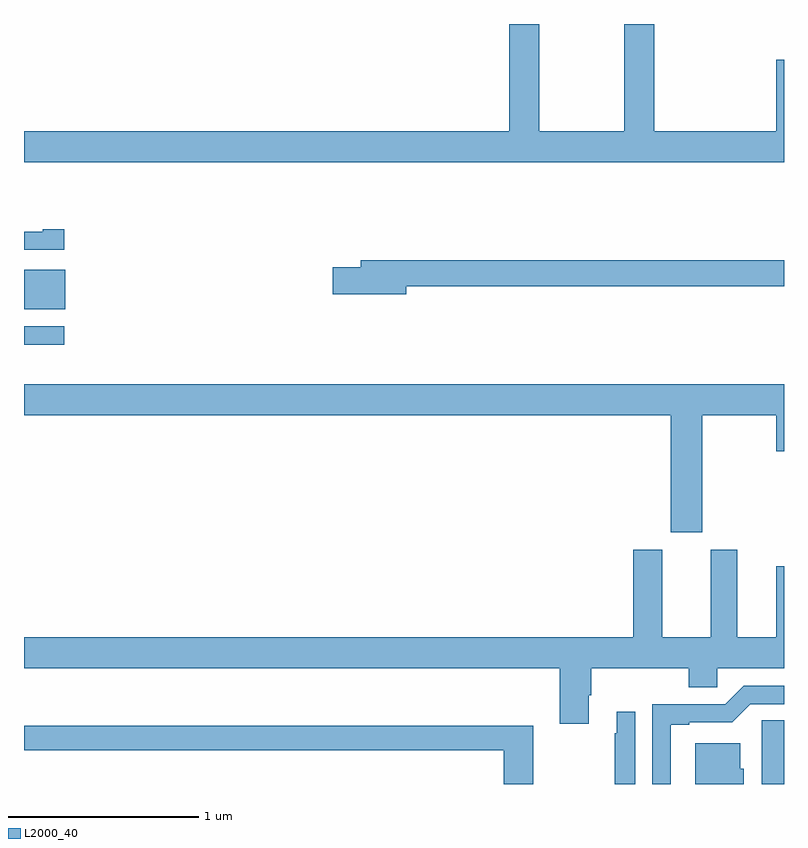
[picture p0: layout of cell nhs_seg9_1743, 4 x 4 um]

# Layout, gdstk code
import gdstk
lib = gdstk.Library(unit=1e-6, precision=1e-09)
def R(c, l, rs):  # rectangles x0, y0, x1, y1
    for r in rs: c.add(gdstk.rectangle(r[:2], r[2:], *l))
def P(c, l, *ps):  # polygons
    for p in ps: c.add(gdstk.Polygon(p, *l))
L2000_40 = (2000, 40)

nhs_seg9_1743 = lib.new_cell('nhs_seg9_1743')
R(nhs_seg9_1743, L2000_40, [(209,1176.813,209.212,1176.909), (209,1176.998,209.218,1177.207)])
P(nhs_seg9_1743, L2000_40, [(213,1178.311),(212.96,1178.311),(212.96,1177.936),(212.318,1177.936),(212.318,1178.5),(212.158,1178.5),(212.158,1177.936),(211.713,1177.936),(211.713,1178.5),(211.553,1178.5),(211.553,1177.936),(209,1177.936),(209,1177.772),(213,1177.772)],
  [(209.212,1177.42),(209.099,1177.42),(209.099,1177.407),(209,1177.407),(209,1177.311),(209.212,1177.311)],
  [(211.012,1177.12),(213,1177.12),(213,1177.256),(210.773,1177.256),(210.773,1177.22),(210.624,1177.22),(210.624,1177.078),(211.012,1177.078)],
  [(212.569,1176.44),(212.96,1176.44),(212.96,1176.252),(213,1176.252),(213,1176.604),(209,1176.604),(209,1176.44),(212.405,1176.44),(212.405,1175.826),(212.569,1175.826)],
  [(211.972,1174.966),(211.985,1174.966),(211.985,1175.108),(212.498,1175.108),(212.498,1175.01),(212.649,1175.01),(212.649,1175.108),(213,1175.108),(213,1175.647),(212.96,1175.647),(212.96,1175.272),(212.755,1175.272),(212.755,1175.734),(212.615,1175.734),(212.615,1175.272),(212.359,1175.272),(212.359,1175.734),(212.207,1175.734),(212.207,1175.272),(209,1175.272),(209,1175.108),(211.82,1175.108),(211.82,1174.818),(211.972,1174.818)],
  [(212.404,1174.812),(212.5,1174.812),(212.5,1174.824),(212.727,1174.824),(212.823,1174.92),(213,1174.92),(213,1175.016),(212.787,1175.016),(212.691,1174.92),(212.307,1174.92),(212.307,1174.5),(212.404,1174.5)],
  [(212.217,1174.879),(212.12,1174.879),(212.12,1174.766),(212.109,1174.766),(212.109,1174.5),(212.217,1174.5)],
  [(213,1174.835),(212.883,1174.835),(212.883,1174.724),(212.882,1174.724),(212.882,1174.5),(213,1174.5)],
  [(211.68,1174.807),(209,1174.807),(209,1174.678),(211.526,1174.678),(211.526,1174.5),(211.68,1174.5)],
  [(212.788,1174.581),(212.77,1174.581),(212.77,1174.714),(212.534,1174.714),(212.534,1174.5),(212.788,1174.5)])

lib.write_gds('nhs_seg9_1743.gds')
